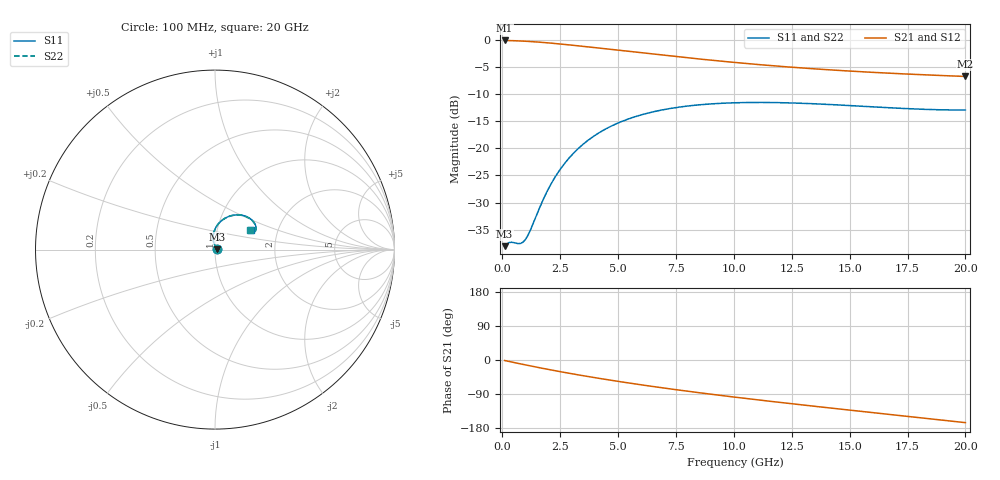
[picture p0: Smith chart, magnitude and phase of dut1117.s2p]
! Touchstone file exported from HFSS 2024.1.0
!  File:  C:/UserFiles/LocalFiles/RDL_TSV_Batchsim/temp_RDL_TSV_1117_1780105202.aedt
!  Generated:  09:50:48 AM May 30, 2026
!  Design:  RDL_TSV
!  Project:  temp_RDL_TSV_1117_1780105202
!  Setup:  Setup1
!  Solution:  Sweep
! Variables:
!  dtsv = 7.02um
!  hbump = 3um
!  htsv = 64.33um
!  ldown = 613.26um
!  lrdl = 154.75um
!  p = 40
!  p1 = 40.44um
!  rhole = 10um
!  subl = 2458.78um
!  t = 450um
!  tdown = 4.1um
!  trdl = 3.1um
!  viad = 10um
!  wdown = 24.49um
!  wrdl = 15.6um
!  xbump = 18um
# GHz S MA R 50.000000
! Terminal data exported
! Port[1] = TM1_1_T1
! Port[2] = TM1_4_T1
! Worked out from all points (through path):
!   200 points, 100 MHz to 20 GHz, reference 50 ohm
!   highest |S21| = -0.11 dB at 100 MHz (marker M1); lowest = -6.7 dB at 20 GHz (marker M2)
!   group delay of S21, straight-line fit = 21.9 ps
!   lowest |S11| = -38.0 dB at 100 MHz (marker M3), VSWR 1.03, Z = 51.3 + j0.184 ohm
!   |S11| at or under -10 dB: start of sweep to end of sweep
!   |S22| runs from -38.0 to -11.6 dB; largest |S21 - S12| = 2.7e-14
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0.1  0.01255 8.2  0.9873 -1.4  0.9873 -1.4  0.01255 8.2
! Gamma 0 0 0 0
! Port Impedance 50 0 50 0
0.3  0.01356 17.6  0.985 -4.0  0.985 -4.0  0.01356 17.6
0.8  0.01332 46.2  0.9761 -10.4  0.9761 -10.4  0.01333 46.0
1  0.01447 63.1  0.9712 -12.9  0.9712 -12.9  0.01447 62.9
1.2  0.01738 78.3  0.9655 -15.4  0.9655 -15.4  0.01737 78.1
1.8  0.03497 98.8  0.9448 -22.7  0.9448 -22.7  0.03487 98.7
2.2  0.05094 100.6  0.9287 -27.4  0.9287 -27.4  0.05078 100.5
2.5  0.06402 99.6  0.916 -30.8  0.916 -30.8  0.06382 99.5
2.8  0.0776 97.6  0.9027 -34.1  0.9027 -34.1  0.07735 97.4
3.5  0.1096 91.0  0.8711 -41.5  0.8711 -41.5  0.1092 90.9
4.2  0.1401 83.8  0.8393 -48.6  0.8393 -48.6  0.1396 83.7
4.9  0.1676 76.7  0.8079 -55.4  0.8079 -55.4  0.1671 76.6
5.8  0.1977 68.1  0.7691 -63.7  0.7691 -63.7  0.197 68.1
6.8  0.2238 59.7  0.7284 -72.5  0.7284 -72.5  0.2229 59.6
8.4  0.2507 48.3  0.6699 -85.5  0.6699 -85.5  0.2497 48.2
10.1  0.2634 38.9  0.6175 -98.4  0.6175 -98.4  0.2622 38.8
11.7  0.2644 32.3  0.5769 -109.9  0.5769 -109.9  0.2631 32.1
13.4  0.258 27.4  0.542 -121.6  0.542 -121.6  0.2566 27.2
15  0.2481 24.8  0.5157 -132.3  0.5157 -132.3  0.2466 24.7
16.7  0.2368 24.1  0.493 -143.5  0.493 -143.5  0.2353 24.1
18.3  0.2287 25.5  0.4756 -154.1  0.4756 -154.1  0.2271 25.4
20  0.2256 28.3  0.46 -165.3  0.46 -165.3  0.2241 28.4
